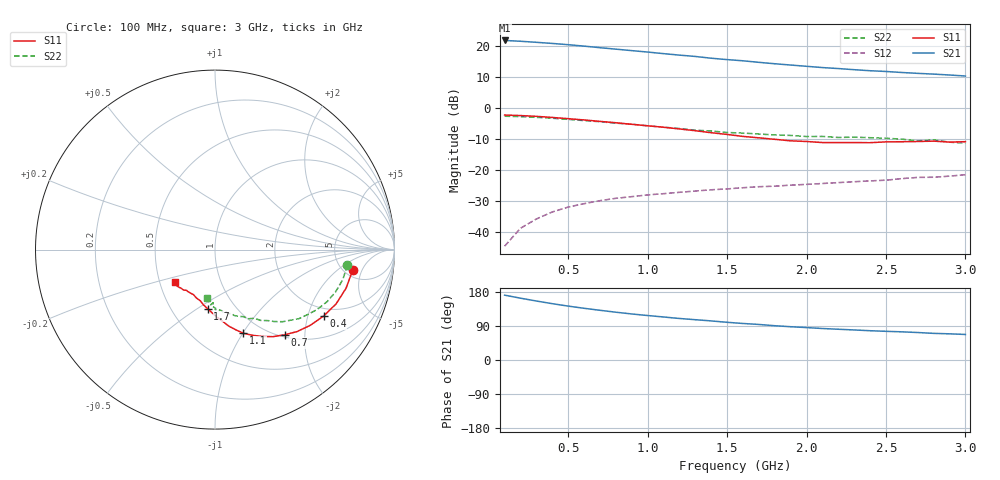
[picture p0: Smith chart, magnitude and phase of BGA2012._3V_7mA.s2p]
! Bias: Vs=Vc=3.00 V; Is=7.0 mA;
#  MHZ  S  MA  R 50
! Freq  S11  S21  S12  S22
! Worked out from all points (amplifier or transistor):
!   30 points, 100 MHz to 3 GHz, reference 50 ohm
!   highest |S21| = 22.0 dB at 100 MHz (marker M1)
!   |S21| within 3 dB of that: start of sweep to 838.8 MHz
!   unconditionally stable (mu >= 1): start of sweep to 137.7 MHz; 1.17 GHz to end of sweep
!   at 600 MHz: K = 0.66, MSG = 25.5 dB, |S12| = -30.9 dB
!   at 1.6 GHz: K = 1.27, MAG = 17.4 dB, |S12| = -25.7 dB
!   at 3 GHz: K = 1.58, MAG = 11.5 dB, |S12| = -21.5 dB
!   S11 on the Smith chart (normalised r, x): 100 MHz: 5.96, -3.39; 400 MHz: 1.69, -2.52; 700 MHz: 1.04, -1.58; 1.1 GHz: 0.82, -1.01; 1.7 GHz: 0.75, -0.55; 3 GHz: 0.60, -0.23
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100  0.776 -8.4  12.53 171.2  0.005839 84.9  0.7428 -6.7
200  0.7613 -16.4  12.15 163.1  0.0114 79.4  0.7315 -13.2
300  0.7395 -24.1  11.69 155.7  0.01609 76.4  0.712 -19.3
400  0.7091 -31.5  11.21 148.6  0.02091 72.2  0.6891 -24.9
500  0.6782 -38.5  10.69 142.2  0.02508 69.2  0.6599 -30.4
600  0.6463 -45.0  10.14 136.5  0.02848 66.0  0.6313 -34.9
700  0.6128 -50.8  9.568 131.2  0.03184 63.6  0.6054 -39.5
800  0.582 -56.5  9.061 126.1  0.03479 61.8  0.5737 -43.4
900  0.5495 -61.7  8.574 121.5  0.03699 60.5  0.5511 -46.8
1000  0.5199 -66.6  8.131 117.4  0.0395 58.9  0.5191 -50.5
1100  0.4923 -71.2  7.664 113.5  0.04134 58.7  0.4939 -53.2
1200  0.462 -75.4  7.254 109.6  0.04349 58.1  0.4696 -57.2
1300  0.4329 -79.8  6.897 106.3  0.04563 57.6  0.4409 -60.1
1500  0.3768 -88.4  6.137 99.5  0.04939 57.4  0.4047 -67.3
1600  0.35 -93.1  5.869 96.4  0.05162 57.3  0.3963 -70.0
1700  0.3318 -97.1  5.542 93.8  0.05362 57.5  0.3824 -73.8
1900  0.2966 -106.0  5.011 87.8  0.05687 57.3  0.3631 -78.8
2100  0.2783 -115.6  4.558 83.1  0.06042 57.7  0.3499 -82.6
2400  0.2769 -125.0  4.052 77.3  0.06658 58.1  0.3335 -89.8
2600  0.2867 -131.9  3.794 74.3  0.07251 61.0  0.3161 -92.6
2800  0.2933 -136.5  3.571 70.3  0.07629 60.2  0.3085 -94.4
3000  0.2873 -141.6  3.326 67.4  0.08386 61.4  0.2725 -99.5
